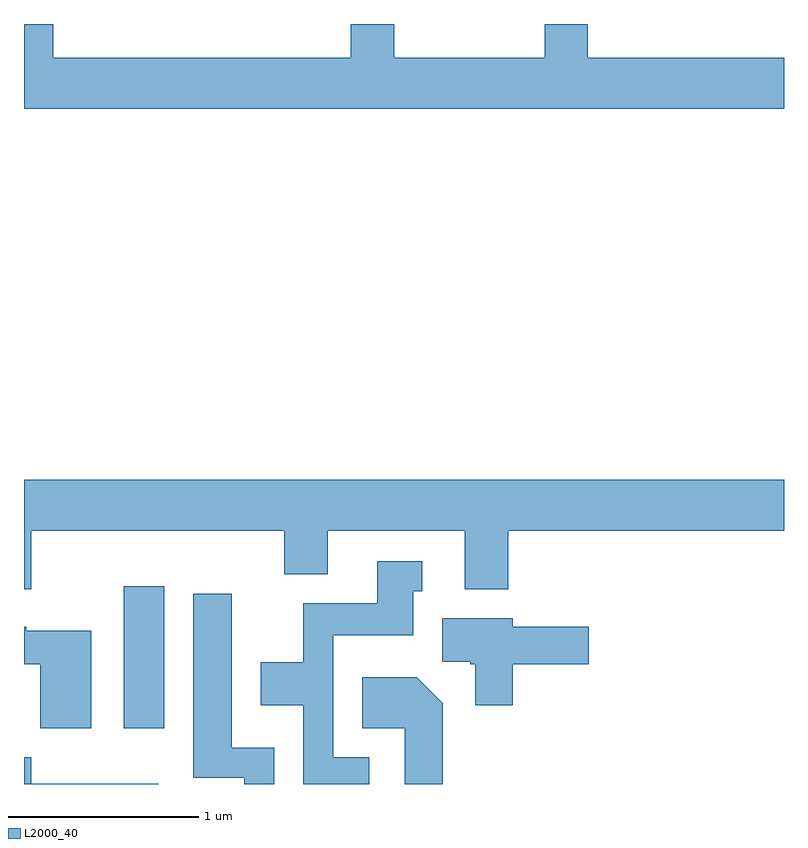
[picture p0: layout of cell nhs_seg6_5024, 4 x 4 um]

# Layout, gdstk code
import gdstk
lib = gdstk.Library(unit=1e-6, precision=1e-09)
def R(c, l, rs):  # rectangles x0, y0, x1, y1
    for r in rs: c.add(gdstk.rectangle(r[:2], r[2:], *l))
def P(c, l, *ps):  # polygons
    for p in ps: c.add(gdstk.Polygon(p, *l))
L2000_40 = (2000, 40)

nhs_seg6_5024 = lib.new_cell('nhs_seg6_5024')
R(nhs_seg6_5024, L2000_40, [(338.136,1644.456,338.349,1645.204)])
P(nhs_seg6_5024, L2000_40, [(341.611,1647.984),(340.579,1647.984),(340.579,1648.162),(340.351,1648.162),(340.351,1647.984),(339.559,1647.984),(339.559,1648.162),(339.331,1648.162),(339.331,1647.984),(337.764,1647.984),(337.764,1648.162),(337.611,1648.162),(337.611,1647.716),(341.611,1647.716)],
  [(337.649,1645.496),(338.981,1645.496),(338.981,1645.266),(339.209,1645.266),(339.209,1645.496),(339.931,1645.496),(339.931,1645.186),(340.159,1645.186),(340.159,1645.496),(341.611,1645.496),(341.611,1645.764),(337.611,1645.764),(337.611,1645.186),(337.649,1645.186)],
  [(339.428,1644.304),(339.239,1644.304),(339.239,1644.946),(339.659,1644.946),(339.659,1645.176),(339.708,1645.176),(339.708,1645.334),(339.471,1645.334),(339.471,1645.114),(339.081,1645.114),(339.081,1644.804),(338.856,1644.804),(338.856,1644.576),(339.081,1644.576),(339.081,1644.162),(339.428,1644.162)],
  [(338.929,1644.354),(338.704,1644.354),(338.704,1645.164),(338.501,1645.164),(338.501,1644.196),(338.771,1644.196),(338.771,1644.162),(338.929,1644.162)],
  [(340.184,1644.791),(340.584,1644.791),(340.584,1644.989),(340.184,1644.989),(340.184,1645.034),(339.811,1645.034),(339.811,1644.806),(339.96,1644.806),(339.96,1644.791),(339.986,1644.791),(339.986,1644.576),(340.184,1644.576)],
  [(337.964,1644.969),(337.624,1644.969),(337.624,1644.989),(337.611,1644.989),(337.611,1644.791),(337.696,1644.791),(337.696,1644.456),(337.964,1644.456)],
  [(339.814,1644.587),(339.677,1644.724),(339.391,1644.724),(339.391,1644.456),(339.616,1644.456),(339.616,1644.162),(339.814,1644.162)],
  [(338.317,1644.164),(337.649,1644.164),(337.649,1644.304),(337.611,1644.304),(337.611,1644.162),(338.319,1644.162)])

lib.write_gds('nhs_seg6_5024.gds')
